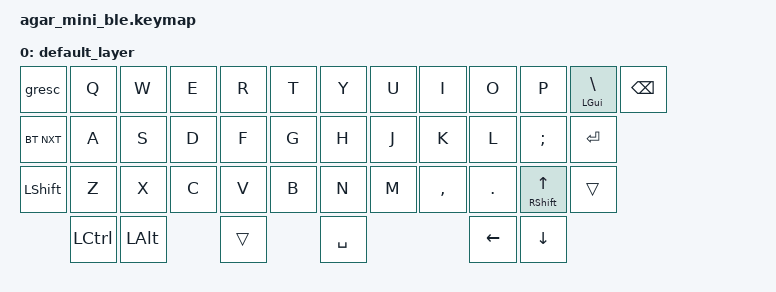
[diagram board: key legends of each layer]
/*
 * Copyright (c) 2021 The ZMK Contributors
 *
 * SPDX-License-Identifier: MIT
 */

#include "./boards/shields/klink_kbd/common.keymap"
#include <behaviors.dtsi>
#include <dt-bindings/zmk/bt.h>
#include <dt-bindings/zmk/keys.h>

/ {
    keymap {
        compatible = "zmk,keymap";

        default_layer {
            bindings = <
&gresc      &kp Q      &kp W     &kp E  &kp R   &kp T  &kp Y      &kp U  &kp I      &kp O           &kp P                &mt LGUI BACKSLASH  &kp BSPC
&bt BT_NXT  &kp A      &kp S     &kp D  &kp F   &kp G  &kp H      &kp J  &kp K      &kp L           &kp SEMI             &kp RET
&kp LSHFT   &kp Z      &kp X     &kp C  &kp V   &kp B  &kp N      &kp M  &kp COMMA  &kp DOT         &mt RSHIFT UP_ARROW  &trans
            &kp LCTRL  &kp LALT         &trans         &kp SPACE                    &kp LEFT_ARROW  &kp DOWN_ARROW
            >;
        };
    };
};
